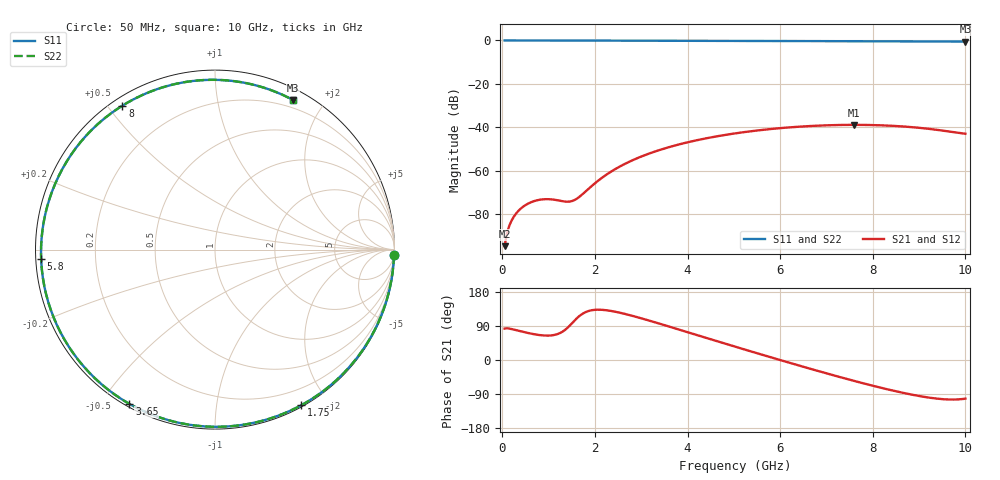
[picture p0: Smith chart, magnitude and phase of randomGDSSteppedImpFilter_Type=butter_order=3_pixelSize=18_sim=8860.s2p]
! freq	dB(S11)	phase(S11)	dB(S12)	phase(S12)
!  dB(S21)	phase(S21)	dB(S22)	phase(S22)
!S-par simulation data
#  GHz  S  DB  R 50
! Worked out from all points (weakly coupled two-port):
!   200 points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, 50 MHz to 10 GHz, reference 50 ohm
!   highest |S21| = -38.91 dB at 7.6 GHz (marker M1); lowest = -94.8 dB at 50 MHz (marker M2)
!   lowest |S11| = -0.5 dB at 10 GHz (marker M3), VSWR 32.36, Z = 5.73 + j82.1 ohm
!   |S11| at or under -10 dB: nowhere
!   |S22| runs from -0.5 to 0.0 dB; largest |S21 - S12| = 0
!   S11 on the Smith chart (normalised r, x): 50 MHz: 5, -63; 1.75 GHz: 0.02, -1.70; 3.65 GHz: 0.01, -0.59; 5.8 GHz: 0.02, -0.03; 8 GHz: 0.03, +0.55; 10 GHz: 0.11, +1.64
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0.05  -0.02 -1.8  -94.83 82.9  -94.83 82.9  -0.02 -1.8
0.3  -0.02 -10.8  -79.72 78.7  -79.72 78.7  -0.02 -10.8
0.5  -0.03 -17.9  -75.91 72.8  -75.91 72.8  -0.03 -17.9
0.75  -0.04 -26.8  -73.68 66.7  -73.68 66.7  -0.04 -26.8
1  -0.04 -35.6  -73.18 64.4  -73.18 64.4  -0.04 -35.6
1.45  -0.06 -51.0  -74.28 89.9  -74.28 89.9  -0.06 -51.0
1.6  -0.07 -56.1  -73.08 108.9  -73.08 108.9  -0.07 -56.1
1.75  -0.08 -61.0  -70.55 123.3  -70.55 123.3  -0.08 -61.1
2.1  -0.09 -72.4  -64.15 132.7  -64.15 132.7  -0.09 -72.5
2.45  -0.10 -83.5  -59.17 127.1  -59.17 127.1  -0.10 -83.5
2.9  -0.12 -97.2  -54.41 113.5  -54.41 113.5  -0.12 -97.3
3.4  -0.14 -111.9  -50.48 95.7  -50.48 95.7  -0.14 -111.9
3.65  -0.15 -119.0  -48.89 86.5  -48.89 86.5  -0.15 -119.1
4.35  -0.18 -138.4  -45.34 60.3  -45.34 60.3  -0.18 -138.5
5.05  -0.22 -157.2  -42.78 34.4  -42.78 34.4  -0.22 -157.3
5.8  -0.26 -177.1  -40.83 7.1  -40.83 7.1  -0.26 -177.1
6.7  -0.32 158.9  -39.40 -24.9  -39.40 -24.9  -0.32 158.9
7.6  -0.38 134.2  -38.91 -55.3  -38.91 -55.3  -0.38 134.1
8  -0.41 122.8  -39.02 -67.9  -39.02 -67.9  -0.41 122.7
8.35  -0.44 112.6  -39.28 -78.3  -39.28 -78.3  -0.44 112.5
9.2  -0.49 87.1  -40.72 -99.0  -40.72 -99.0  -0.49 87.0
10  -0.54 62.5  -43.02 -102.0  -43.02 -102.0  -0.54 62.4
